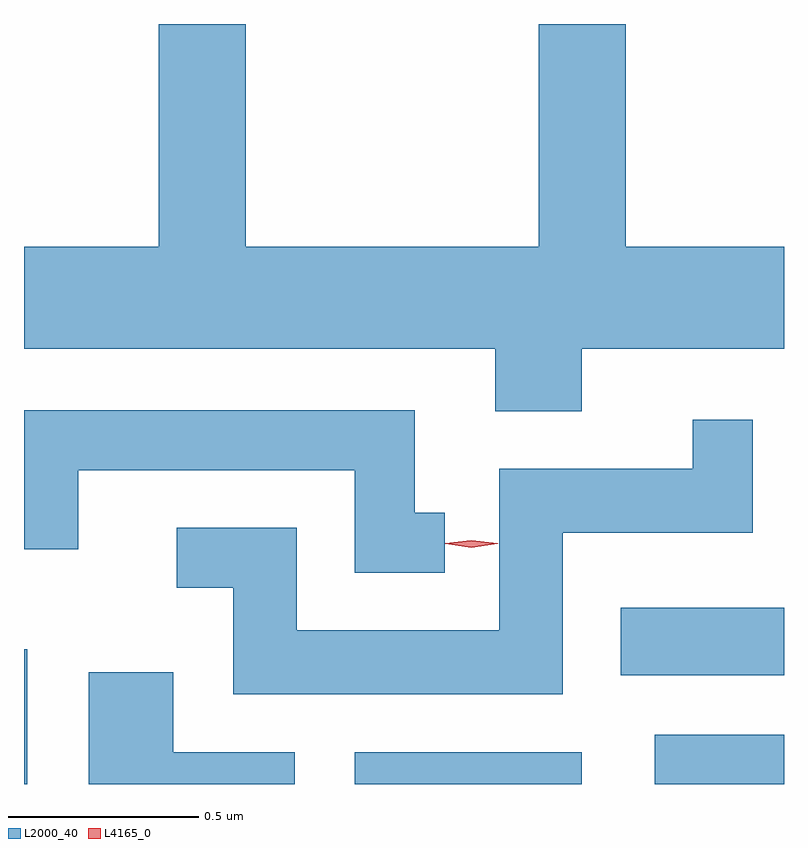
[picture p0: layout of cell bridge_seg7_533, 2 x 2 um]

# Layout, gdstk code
import gdstk
lib = gdstk.Library(unit=1e-6, precision=1e-09)
def R(c, l, rs):  # rectangles x0, y0, x1, y1
    for r in rs: c.add(gdstk.rectangle(r[:2], r[2:], *l))
def P(c, l, *ps):  # polygons
    for p in ps: c.add(gdstk.Polygon(p, *l))
L2000_40 = (2000, 40)
L4165_0 = (4165, 0)

bridge_seg7_533 = lib.new_cell('bridge_seg7_533')
R(bridge_seg7_533, L2000_40, [(1340.351,1708.73,1340.359,1709.084), (1341.221,1708.73,1341.819,1708.814), (1342.011,1708.73,1342.351,1708.859), (1341.921,1709.016,1342.351,1709.194)])
P(bridge_seg7_533, L2000_40, [(1341.819,1709.876),(1342.351,1709.876),(1342.351,1710.144),(1341.934,1710.144),(1341.934,1710.73),(1341.706,1710.73),(1341.706,1710.144),(1340.934,1710.144),(1340.934,1710.73),(1340.706,1710.73),(1340.706,1710.144),(1340.351,1710.144),(1340.351,1709.876),(1341.591,1709.876),(1341.591,1709.711),(1341.819,1709.711)],
  [(1341.458,1709.444),(1341.379,1709.444),(1341.379,1709.714),(1340.351,1709.714),(1340.351,1709.348),(1340.494,1709.348),(1340.494,1709.556),(1341.221,1709.556),(1341.221,1709.286),(1341.458,1709.286)],
  [(1341.769,1709.391),(1342.269,1709.391),(1342.269,1709.688),(1342.111,1709.688),(1342.111,1709.559),(1341.601,1709.559),(1341.601,1709.134),(1341.069,1709.134),(1341.069,1709.404),(1340.753,1709.404),(1340.753,1709.246),(1340.901,1709.246),(1340.901,1708.966),(1341.769,1708.966)],
  [(1341.064,1708.814),(1340.744,1708.814),(1340.744,1709.024),(1340.521,1709.024),(1340.521,1708.73),(1341.064,1708.73)])
P(bridge_seg7_533, L4165_0, [(1341.528,1709.352),(1341.459,1709.362),(1341.459,1709.363),(1341.459,1709.363),(1341.528,1709.372),(1341.598,1709.363),(1341.598,1709.362),(1341.598,1709.362)])

lib.write_gds('bridge_seg7_533.gds')
